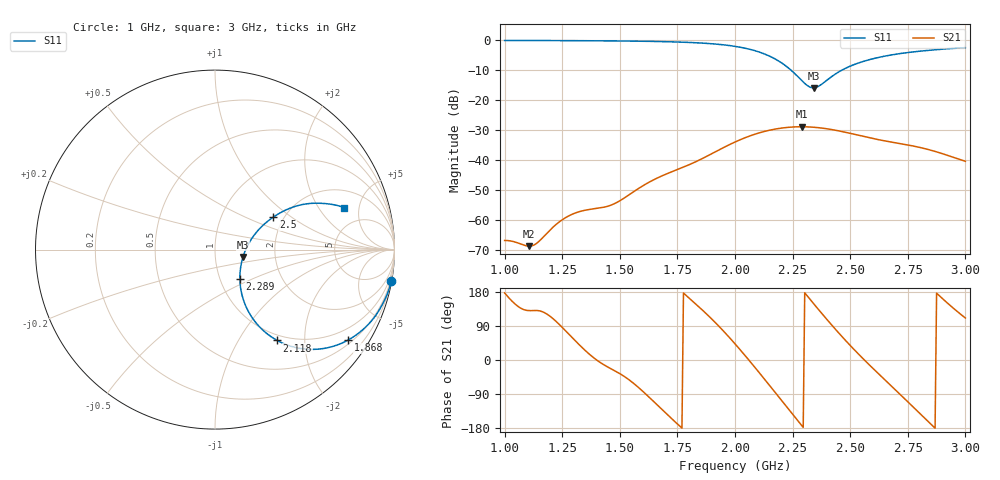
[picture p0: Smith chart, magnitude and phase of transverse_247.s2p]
! TOUCHSTONE file generated by CST MICROWAVE STUDIO
! Date and time: Tue Mar 11 13:58:01 2025
! Project name: transverse.cst
! Parameters = {Fracture=1; B=10; D=160; F=25; Feed=2.85625; L=100; M=20; R=0.384908; S=2; Theta=270; length=57.125; wave=114.25}
! Header version: 2024
! Port assignment regex: !\s*Touchstone port\s*([0-9]+)\s*=\s*(CST MWS port|CST DES external port|CST DES block port)\s*(.+)\s* \(\"(.*)\"\)(\s*mode\s*([0-9]+))?.*
! Touchstone port assignment:
! Touchstone port 1 = CST MWS port 1 ("")
! Touchstone port 2 = CST MWS port 2 ("")
# GHz S MA R 50
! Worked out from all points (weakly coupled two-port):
!   305 points, 1 GHz to 3 GHz, reference 50 ohm
!   highest |S21| = -28.85 dB at 2.289 GHz (marker M1); lowest = -68.7 dB at 1.105 GHz (marker M2)
!   lowest |S11| = -15.9 dB at 2.342 GHz (marker M3), VSWR 1.38, Z = 68.1 - j5.84 ohm
!   |S11| at or under -10 dB: 2.244 GHz to 2.462 GHz (218.3 MHz wide, 9.28 % of centre)
!   S12 and S22 are empty: the file has one direction only
!   S11 on the Smith chart (normalised r, x): 1 GHz: 0, -11; 1.868 GHz: 0.61, -3.14; 2.118 GHz: 0.91, -1.48; 2.289 GHz: 1.24, -0.43; 2.5 GHz: 1.76, +0.74; 3 GHz: 3.21, +3.52
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1  0.9976 -10.0  0.0004558 177.0  0 0.0  0 0.0
1.10526  0.9963 -11.5  0.0003658 130.3  0 0.0  0 0.0
1.13816  0.9956 -12.0  0.0004059 130.7  0 0.0  0 0.0
1.25  0.9922 -13.9  0.001009 86.2  0 0.0  0 0.0
1.33553  0.9888 -15.5  0.001418 33.3  0 0.0  0 0.0
1.47368  0.9802 -18.6  0.001853 -27.0  0 0.0  0 0.0
1.67105  0.9575 -24.6  0.00521 -123.7  0 0.0  0 0.0
1.86842  0.8964 -34.2  0.01113 126.1  0 0.0  0 0.0
2  0.7952 -44.3  0.02008 42.7  0 0.0  0 0.0
2.11842  0.6129 -55.6  0.02952 -43.3  0 0.0  0 0.0
2.21053  0.4001 -61.6  0.03466 -113.1  0 0.0  0 0.0
2.28947  0.2142 -49.7  0.03611 -172.9  0 0.0  0 0.0
2.31579  0.1744 -35.2  0.03593 167.5  0 0.0  0 0.0
2.33553  0.1616 -20.3  0.03558 152.8  0 0.0  0 0.0
2.34211  0.1612 -15.0  0.03543 148.0  0 0.0  0 0.0
2.36842  0.1766 3.7  0.03464 128.8  0 0.0  0 0.0
2.41447  0.2406 21.5  0.03269 96.0  0 0.0  0 0.0
2.5  0.3716 29.1  0.02801 38.4  0 0.0  0 0.0
2.57895  0.4716 29.0  0.02383 -10.4  0 0.0  0 0.0
2.67105  0.5651 26.7  0.02028 -64.2  0 0.0  0 0.0
2.83553  0.6794 22.0  0.01517 -160.8  0 0.0  0 0.0
3  0.7574 18.0  0.00957 110.8  0 0.0  0 0.0
